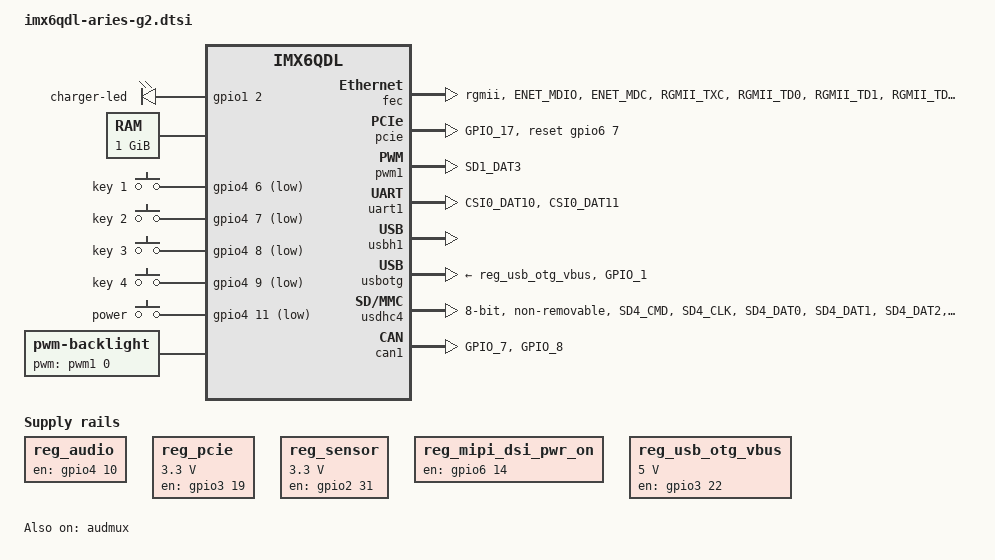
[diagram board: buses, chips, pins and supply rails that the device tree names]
/*
 * Copyright 2012-2015 Freescale Semiconductor, Inc.
 * Copyright 2011 Linaro Ltd.
 *
 * The code contained herein is licensed under the GNU General Public
 * License. You may obtain a copy of the GNU General Public License
 * Version 2 or later at the following locations:
 *
 * http://www.opensource.org/licenses/gpl-license.html
 * http://www.gnu.org/copyleft/gpl.html
 */

#include <dt-bindings/gpio/gpio.h>
#include <dt-bindings/input/input.h>

/ {
	aliases {
		mxcfb0 = &mxcfb1;
		mxcfb1 = &mxcfb2;
		mxcfb2 = &mxcfb3;
		mxcfb3 = &mxcfb4;
	};

	chosen {
		stdout-path = &uart1;
	};

	leds {
		compatible = "gpio-leds";

		charger-led {
			gpios = <&gpio1 2 0>;
			linux,default-trigger = "max8903-charger-charging";
			retain-state-suspended;
		};
	};

	memory: memory {
		reg = <0x10000000 0x40000000>;
	};

	regulators {
		compatible = "simple-bus";
		#address-cells = <1>;
		#size-cells = <0>;

		reg_audio: regulator@2 {
			compatible = "regulator-fixed";
			reg = <2>;
			regulator-name = "wm8962-supply";
			gpio = <&gpio4 10 0>;
			enable-active-high;
		};

		reg_pcie: regulator@3 {
			compatible = "regulator-fixed";
			reg = <3>;
			pinctrl-names = "default";
			pinctrl-0 = <&pinctrl_pcie_reg>;
			regulator-name = "MPCIE_3V3";
			regulator-min-microvolt = <3300000>;
			regulator-max-microvolt = <3300000>;
			gpio = <&gpio3 19 0>;
			regulator-always-on;
			enable-active-high;
		};

		reg_sensor: regulator@4 {
			compatible = "regulator-fixed";
			reg = <4>;
			regulator-name = "sensor-supply";
			regulator-min-microvolt = <3300000>;
			regulator-max-microvolt = <3300000>;
			gpio = <&gpio2 31 0>;
			startup-delay-us = <500>;
			enable-active-high;
		};

		reg_mipi_dsi_pwr_on: mipi_dsi_pwr_on {
			compatible = "regulator-fixed";
			regulator-name = "mipi_dsi_pwr_on";
			gpio = <&gpio6 14 0>;
			enable-active-high;
		};

		reg_usb_otg_vbus: regulator@5 {
			compatible = "regulator-fixed";
			reg = <2>;
			regulator-name = "usb_otg_vbus";
			regulator-min-microvolt = <5000000>;
			regulator-max-microvolt = <5000000>;
			gpio = <&gpio3 22 0>;
			enable-active-high;
		};
	};

	gpio-keys {
		compatible = "gpio-keys";
		pinctrl-names = "default";
		pinctrl-0 = <&pinctrl_gpio_keys>;

		key1 {
			label = "key 1";
			gpios = <&gpio4 6 GPIO_ACTIVE_LOW>;
			gpio-key,wakeup;
			linux,code = <21>;
		};
		
		key2 {
			label = "key 2";
			gpios = <&gpio4 7 GPIO_ACTIVE_LOW>;
			gpio-key,wakeup;
			linux,code = <22>;
		};
		
		key3 {
			label = "key 3";
			gpios = <&gpio4 8 GPIO_ACTIVE_LOW>;
			gpio-key,wakeup;
			linux,code = <24>;
		};
		
		key4 {
			label = "key 4";
			gpios = <&gpio4 9 GPIO_ACTIVE_LOW>;
			gpio-key,wakeup;
			linux,code = <23>;
		};
		
		power {
			label = "power";
			gpios = <&gpio4 11 GPIO_ACTIVE_LOW>;
			gpio-key,wakeup;
			linux,code = <25>;
		};
	};

    #if 0
	sound {
		compatible = "fsl,imx6q-sabresd-wm8962",
			   "fsl,imx-audio-wm8962";
		model = "wm8962-audio";
		cpu-dai = <&ssi2>;
		audio-codec = <&codec>;
		asrc-controller = <&asrc>;
		audio-routing =
			"Headphone Jack", "HPOUTL",
			"Headphone Jack", "HPOUTR",
			"Ext Spk", "SPKOUTL",
			"Ext Spk", "SPKOUTR",
			"AMIC", "MICBIAS",
			"IN3R", "AMIC",
			"DMIC", "MICBIAS",
			"DMICDAT", "DMIC",
			"CPU-Playback", "ASRC-Playback",
			"Playback", "CPU-Playback",
			"ASRC-Capture", "CPU-Capture",
			"CPU-Capture", "Capture";
		mux-int-port = <2>;
		mux-ext-port = <3>;
		hp-det-gpios = <&gpio7 8 1>;
		mic-det-gpios = <&gpio1 9 1>;
	};

	sound-hdmi {
		compatible = "fsl,imx6q-audio-hdmi",
			     "fsl,imx-audio-hdmi";
		model = "imx-audio-hdmi";
		hdmi-controller = <&hdmi_audio>;
	};
	#endif

	mxcfb1: fb@0 {
		compatible = "fsl,mxc_sdc_fb";
		disp_dev = "ldb";
		interface_pix_fmt = "RGB666";
		default_bpp = <16>;
		int_clk = <0>;
		late_init = <0>;
		status = "disabled";
	};

	mxcfb2: fb@1 {
		compatible = "fsl,mxc_sdc_fb";
		disp_dev = "hdmi";
		interface_pix_fmt = "RGB24";
		mode_str ="1920x1080M@60";
		default_bpp = <24>;
		int_clk = <0>;
		late_init = <0>;
		status = "disabled";
	};

	mxcfb3: fb@2 {
		compatible = "fsl,mxc_sdc_fb";
		disp_dev = "lcd";
		interface_pix_fmt = "RGB24";
		mode_str ="AURALiC";
		default_bpp = <24>;
		int_clk = <0>;
		late_init = <0>;
		status = "disabled";
	};

	mxcfb4: fb@3 {
		compatible = "fsl,mxc_sdc_fb";
		disp_dev = "ldb";
		interface_pix_fmt = "RGB666";
		default_bpp = <16>;
		int_clk = <0>;
		late_init = <0>;
		status = "disabled";
	};

	lcd@0 {
		compatible = "fsl,lcd";
		ipu_id = <0>;
		disp_id = <0>;
		default_ifmt = "RGB24";
		pinctrl-names = "default";
		pinctrl-0 = <&pinctrl_ipu1>;
		status = "okay";
	};

	backlight {
		compatible = "pwm-backlight";
		pwms = <&pwm1 0 5000000>;
		brightness-levels = <0 4 8 16 32 64 128 255>;
		default-brightness-level = <7>;
		status = "okay";
	};
#if 0
	v4l2_cap_0 {
		compatible = "fsl,imx6q-v4l2-capture";
		ipu_id = <0>;
		csi_id = <0>;
		mclk_source = <0>;
		status = "okay";
	};

	v4l2_cap_1 {
		compatible = "fsl,imx6q-v4l2-capture";
		ipu_id = <0>;
		csi_id = <1>;
		mclk_source = <0>;
		status = "okay";
	};

	v4l2_out {
		compatible = "fsl,mxc_v4l2_output";
		status = "okay";
	};

	mipi_dsi_reset: mipi-dsi-reset {
		compatible = "gpio-reset";
		reset-gpios = <&gpio6 11 GPIO_ACTIVE_LOW>;
		reset-delay-us = <50>;
		#reset-cells = <0>;
	};
	#endif
};

&audmux {
	pinctrl-names = "default";
	pinctrl-0 = <&pinctrl_audmux>;
	status = "okay";
};

&clks {
	fsl,ldb-di0-parent = <&clks IMX6QDL_CLK_PLL2_PFD0_352M>;
	fsl,ldb-di1-parent = <&clks IMX6QDL_CLK_PLL2_PFD0_352M>;
};

#if 0
&ecspi1 {
	fsl,spi-num-chipselects = <1>;
	cs-gpios = <&gpio4 9 0>;
	pinctrl-names = "default";
	pinctrl-0 = <&pinctrl_ecspi1>;
	status = "okay";

	flash: m25p80@0 {
		#address-cells = <1>;
		#size-cells = <1>;
		compatible = "st,m25p32";
		spi-max-frequency = <20000000>;
		reg = <0>;
	};
};
#endif

&fec {
	pinctrl-names = "default";
	pinctrl-0 = <&pinctrl_enet>;
	phy-mode = "rgmii";
	phy-reset-gpios = <&gpio1 25 0>;
	fsl,magic-packet;
	status = "okay";
};

&gpc {
	fsl,ldo-bypass = <1>;
};
#if 0
&dcic1 {
	dcic_id = <0>;
	dcic_mux = "dcic-hdmi";
	status = "okay";
};

&dcic2 {
	dcic_id = <1>;
	dcic_mux = "dcic-lvds1";
	status = "okay";
};

&hdmi_audio {
	status = "okay";
};

&hdmi_cec {
	pinctrl-names = "default";
	pinctrl-0 = <&pinctrl_hdmi_cec>;
	status = "okay";
};

&hdmi_core {
	ipu_id = <0>;
	disp_id = <0>;
	status = "okay";
};

&hdmi_video {
	fsl,phy_reg_vlev = <0x0294>;
	fsl,phy_reg_cksymtx = <0x800d>;
	status = "okay";
};

&i2c1 {
	clock-frequency = <100000>;
	pinctrl-names = "default";
	pinctrl-0 = <&pinctrl_i2c1>;
	status = "okay";

	codec: wm8962@1a {
		compatible = "wlf,wm8962";
		reg = <0x1a>;
		clocks = <&clks IMX6QDL_CLK_CKO>;
		DCVDD-supply = <&reg_audio>;
		DBVDD-supply = <&reg_audio>;
		AVDD-supply = <&reg_audio>;
		CPVDD-supply = <&reg_audio>;
		MICVDD-supply = <&reg_audio>;
		PLLVDD-supply = <&reg_audio>;
		SPKVDD1-supply = <&reg_audio>;
		SPKVDD2-supply = <&reg_audio>;
		gpio-cfg = <
			0x0000 /* 0:Default */
			0x0000 /* 1:Default */
			0x0013 /* 2:FN_DMICCLK */
			0x0000 /* 3:Default */
			0x8014 /* 4:FN_DMICCDAT */
			0x0000 /* 5:Default */
		>;
		amic-mono;
       };

	mma8451@1c {
		compatible = "fsl,mma8451";
		reg = <0x1c>;
		position = <0>;
		vdd-supply = <&reg_sensor>;
		vddio-supply = <&reg_sensor>;
		interrupt-parent = <&gpio1>;
		interrupts = <18 8>;
		interrupt-route = <1>;
	};
};
#endif

&iomuxc {
	pinctrl-names = "default";
	pinctrl-0 = <&pinctrl_hog>;

	imx6qdl-sabresd {
		pinctrl_hog: hoggrp {
			fsl,pins = <
			    MX6QDL_PAD_KEY_COL0__GPIO4_IO06     0x1b0b0//21
			    MX6QDL_PAD_KEY_ROW0__GPIO4_IO07     0x1b0b0//22
			    MX6QDL_PAD_KEY_COL1__GPIO4_IO08     0x1b0b0//24
			    MX6QDL_PAD_KEY_ROW1__GPIO4_IO09     0x1b0b0//23
			    MX6QDL_PAD_KEY_ROW2__GPIO4_IO11     0x1b0b0//25
			    
			    MX6QDL_PAD_SD2_DAT2__GPIO1_IO13     0x1b0b0//IRM
			    MX6QDL_PAD_EIM_OE__GPIO2_IO25       0x80000000//miso
			    MX6QDL_PAD_EIM_CS0__GPIO2_IO23      0x80000000//clk
			    MX6QDL_PAD_EIM_CS1__GPIO2_IO24      0x80000000//mosi
			    MX6QDL_PAD_EIM_LBA__GPIO2_IO27      0x80000000//cs
			    MX6QDL_PAD_KEY_ROW3__GPIO4_IO13     0x80000000//rst
				MX6QDL_PAD_NANDF_WP_B__GPIO6_IO09	0x0b0b0//pcie WAKEUP
				MX6QDL_PAD_NANDF_CLE__GPIO6_IO07    0x0b0b0//PCIE RST
				MX6QDL_PAD_EIM_BCLK__GPIO6_IO31     0x1b0b0//usb_dit_rst
				MX6QDL_PAD_EIM_D31__GPIO3_IO31      0x1b0b0//usb_llk_rst
			    
				MX6QDL_PAD_NANDF_D0__GPIO2_IO00 0x80000000
				MX6QDL_PAD_NANDF_D1__GPIO2_IO01 0x80000000
				MX6QDL_PAD_NANDF_D2__GPIO2_IO02 0x80000000
				MX6QDL_PAD_NANDF_D3__GPIO2_IO03 0x80000000
				MX6QDL_PAD_GPIO_0__CCM_CLKO1    0x130b0
				MX6QDL_PAD_ENET_TXD1__GPIO1_IO29 0x80000000
				MX6QDL_PAD_EIM_D22__GPIO3_IO22  0x80000000
				MX6QDL_PAD_ENET_CRS_DV__GPIO1_IO25 0x80000000
				MX6QDL_PAD_EIM_D26__GPIO3_IO26 0x80000000
				MX6QDL_PAD_ENET_RXD0__GPIO1_IO27 0x80000000
				MX6QDL_PAD_EIM_A25__GPIO5_IO02 0x80000000
				MX6QDL_PAD_EIM_D23__GPIO3_IO23 0x80000000
				MX6QDL_PAD_EIM_EB3__GPIO2_IO31 0x80000000
				MX6QDL_PAD_SD1_CMD__GPIO1_IO18 0x80000000
				MX6QDL_PAD_EIM_D16__GPIO3_IO16 0x80000000
				MX6QDL_PAD_SD3_RST__GPIO7_IO08	0x80000000
				MX6QDL_PAD_GPIO_9__GPIO1_IO09 	0x80000000
				MX6QDL_PAD_EIM_DA9__GPIO3_IO09 0x80000000
				MX6QDL_PAD_NANDF_CS0__GPIO6_IO11 0x80000000
				MX6QDL_PAD_NANDF_CS1__GPIO6_IO14 0x80000000
				MX6QDL_PAD_NANDF_CS2__GPIO6_IO15 0x80000000
				MX6QDL_PAD_NANDF_CS3__GPIO6_IO16 0x80000000
			>;
		};

		pinctrl_audmux: audmuxgrp {
			fsl,pins = <
				MX6QDL_PAD_CSI0_DAT7__AUD3_RXD		0x130b0
				MX6QDL_PAD_CSI0_DAT4__AUD3_TXC		0x130b0
				MX6QDL_PAD_CSI0_DAT5__AUD3_TXD		0x110b0
				MX6QDL_PAD_CSI0_DAT6__AUD3_TXFS		0x130b0
			>;
		};

		pinctrl_ecspi1: ecspi1grp {
			fsl,pins = <
				MX6QDL_PAD_KEY_COL1__ECSPI1_MISO	0x100b1
				MX6QDL_PAD_KEY_ROW0__ECSPI1_MOSI	0x100b1
				MX6QDL_PAD_KEY_COL0__ECSPI1_SCLK	0x100b1
				MX6QDL_PAD_KEY_ROW1__GPIO4_IO09		0x1b0b0
			>;
		};

		pinctrl_enet: enetgrp {
			fsl,pins = <
				MX6QDL_PAD_ENET_MDIO__ENET_MDIO		0x1b0b0
				MX6QDL_PAD_ENET_MDC__ENET_MDC		0x1b0b0
				MX6QDL_PAD_RGMII_TXC__RGMII_TXC		0x1b0b0
				MX6QDL_PAD_RGMII_TD0__RGMII_TD0		0x1b0b0
				MX6QDL_PAD_RGMII_TD1__RGMII_TD1		0x1b0b0
				MX6QDL_PAD_RGMII_TD2__RGMII_TD2		0x1b0b0
				MX6QDL_PAD_RGMII_TD3__RGMII_TD3		0x1b0b0
				MX6QDL_PAD_RGMII_TX_CTL__RGMII_TX_CTL	0x1b0b0
				MX6QDL_PAD_ENET_REF_CLK__ENET_TX_CLK	0x1b0b0
				MX6QDL_PAD_RGMII_RXC__RGMII_RXC		0x1b0b0
				MX6QDL_PAD_RGMII_RD0__RGMII_RD0		0x1b0b0
				MX6QDL_PAD_RGMII_RD1__RGMII_RD1		0x1b0b0
				MX6QDL_PAD_RGMII_RD2__RGMII_RD2		0x1b0b0
				MX6QDL_PAD_RGMII_RD3__RGMII_RD3		0x1b0b0
				MX6QDL_PAD_RGMII_RX_CTL__RGMII_RX_CTL	0x1b0b0
				MX6QDL_PAD_GPIO_16__ENET_REF_CLK	0x4001b0a8
			>;
		};

		pinctrl_enet_irq: enetirqgrp {
			fsl,pins = <
				MX6QDL_PAD_GPIO_6__ENET_IRQ		0x000b1
			>;
		};

		pinctrl_flexcan1: flexcan1grp {
			fsl,pins = <
				MX6QDL_PAD_GPIO_7__FLEXCAN1_TX		0x1b0b0
				MX6QDL_PAD_GPIO_8__FLEXCAN1_RX		0x1b0b0
			>;
		};

		pinctrl_flexcan2: flexcan2grp {
			fsl,pins = <
				MX6QDL_PAD_KEY_COL4__FLEXCAN2_TX 0x80000000
				MX6QDL_PAD_KEY_ROW4__FLEXCAN2_RX 0x80000000
			>;
		};

		pinctrl_gpio_keys: gpio_keysgrp {
			fsl,pins = <
				MX6QDL_PAD_EIM_D29__GPIO3_IO29 0x1b0b0
				MX6QDL_PAD_GPIO_4__GPIO1_IO04  0x1b0b0
				MX6QDL_PAD_GPIO_5__GPIO1_IO05  0x1b0b0
			>;
		};

		pinctrl_hdmi_cec: hdmicecgrp {
			fsl,pins = <
				MX6QDL_PAD_KEY_ROW2__HDMI_TX_CEC_LINE 0x108b0
			>;
		};

		pinctrl_i2c1: i2c1grp {
			fsl,pins = <
				MX6QDL_PAD_CSI0_DAT8__I2C1_SDA		0x4001b8b1
				MX6QDL_PAD_CSI0_DAT9__I2C1_SCL		0x4001b8b1
			>;
		};

		pinctrl_i2c3: i2c3grp {
			fsl,pins = <
				MX6QDL_PAD_GPIO_3__I2C3_SCL		0x4001b8b1
				MX6QDL_PAD_GPIO_6__I2C3_SDA		0x4001b8b1
			>;
		};

		pinctrl_ipu1: ipu1grp {
			fsl,pins = <
				MX6QDL_PAD_DI0_DISP_CLK__IPU1_DI0_DISP_CLK 0x10
				MX6QDL_PAD_DI0_PIN15__IPU1_DI0_PIN15       0x10
				MX6QDL_PAD_DI0_PIN2__IPU1_DI0_PIN02        0x10
				MX6QDL_PAD_DI0_PIN3__IPU1_DI0_PIN03        0x10
				MX6QDL_PAD_DISP0_DAT0__IPU1_DISP0_DATA00   0x10
				MX6QDL_PAD_DISP0_DAT1__IPU1_DISP0_DATA01   0x10
				MX6QDL_PAD_DISP0_DAT2__IPU1_DISP0_DATA02   0x10
				MX6QDL_PAD_DISP0_DAT3__IPU1_DISP0_DATA03   0x10
				MX6QDL_PAD_DISP0_DAT4__IPU1_DISP0_DATA04   0x10
				MX6QDL_PAD_DISP0_DAT5__IPU1_DISP0_DATA05   0x10
				MX6QDL_PAD_DISP0_DAT6__IPU1_DISP0_DATA06   0x10
				MX6QDL_PAD_DISP0_DAT7__IPU1_DISP0_DATA07   0x10
				MX6QDL_PAD_DISP0_DAT8__IPU1_DISP0_DATA08   0x10
				MX6QDL_PAD_DISP0_DAT9__IPU1_DISP0_DATA09   0x10
				MX6QDL_PAD_DISP0_DAT10__IPU1_DISP0_DATA10  0x10
				MX6QDL_PAD_DISP0_DAT11__IPU1_DISP0_DATA11  0x10
				MX6QDL_PAD_DISP0_DAT12__IPU1_DISP0_DATA12  0x10
				MX6QDL_PAD_DISP0_DAT13__IPU1_DISP0_DATA13  0x10
				MX6QDL_PAD_DISP0_DAT14__IPU1_DISP0_DATA14  0x10
				MX6QDL_PAD_DISP0_DAT15__IPU1_DISP0_DATA15  0x10
				MX6QDL_PAD_DISP0_DAT16__IPU1_DISP0_DATA16  0x10
				MX6QDL_PAD_DISP0_DAT17__IPU1_DISP0_DATA17  0x10
				MX6QDL_PAD_DISP0_DAT18__IPU1_DISP0_DATA18  0x10
				MX6QDL_PAD_DISP0_DAT19__IPU1_DISP0_DATA19  0x10
				MX6QDL_PAD_DISP0_DAT20__IPU1_DISP0_DATA20  0x10
				MX6QDL_PAD_DISP0_DAT21__IPU1_DISP0_DATA21  0x10
				MX6QDL_PAD_DISP0_DAT22__IPU1_DISP0_DATA22  0x10
				MX6QDL_PAD_DISP0_DAT23__IPU1_DISP0_DATA23  0x10
			>;
		};

		pinctrl_ipu1_2: ipu1grp-2 { /* parallel camera */
			fsl,pins = <
				MX6QDL_PAD_CSI0_DAT12__IPU1_CSI0_DATA12    0x80000000
				MX6QDL_PAD_CSI0_DAT13__IPU1_CSI0_DATA13    0x80000000
				MX6QDL_PAD_CSI0_DAT14__IPU1_CSI0_DATA14    0x80000000
				MX6QDL_PAD_CSI0_DAT15__IPU1_CSI0_DATA15    0x80000000
				MX6QDL_PAD_CSI0_DAT16__IPU1_CSI0_DATA16    0x80000000
				MX6QDL_PAD_CSI0_DAT17__IPU1_CSI0_DATA17    0x80000000
				MX6QDL_PAD_CSI0_DAT18__IPU1_CSI0_DATA18    0x80000000
				MX6QDL_PAD_CSI0_DAT19__IPU1_CSI0_DATA19    0x80000000
				MX6QDL_PAD_CSI0_DATA_EN__IPU1_CSI0_DATA_EN 0x80000000
				MX6QDL_PAD_CSI0_PIXCLK__IPU1_CSI0_PIXCLK   0x80000000
				MX6QDL_PAD_CSI0_MCLK__IPU1_CSI0_HSYNC      0x80000000
				MX6QDL_PAD_CSI0_VSYNC__IPU1_CSI0_VSYNC     0x80000000
				MX6QDL_PAD_SD1_DAT1__GPIO1_IO17            0x80000000
				MX6QDL_PAD_SD1_DAT0__GPIO1_IO16            0x80000000
			>;
		};

		pinctrl_pcie: pciegrp {
			fsl,pins = <
				MX6QDL_PAD_GPIO_17__GPIO7_IO12	0x1b0b0
			>;
		};

		pinctrl_pcie_reg: pciereggrp {
			fsl,pins = <
				MX6QDL_PAD_EIM_D19__GPIO3_IO19	0x1b0b0
			>;
		};

		pinctrl_pwm1: pwm1grp {
			fsl,pins = <
				MX6QDL_PAD_SD1_DAT3__PWM1_OUT		0x1b0b1
			>;
		};

		pinctrl_uart1: uart1grp {
			fsl,pins = <
				MX6QDL_PAD_CSI0_DAT10__UART1_TX_DATA	0x1b0b1
				MX6QDL_PAD_CSI0_DAT11__UART1_RX_DATA	0x1b0b1
			>;
		};

		pinctrl_uart5_1: uart5grp-1 {
			fsl,pins = <
				MX6QDL_PAD_KEY_COL1__UART5_TX_DATA	0x1b0b1
				MX6QDL_PAD_KEY_ROW1__UART5_RX_DATA	0x1b0b1
				MX6QDL_PAD_KEY_COL4__UART5_RTS_B	0x1b0b1
				MX6QDL_PAD_KEY_ROW4__UART5_CTS_B	0x1b0b1
			>;
		};

		pinctrl_uart5dte_1: uart5dtegrp-1 {
			fsl,pins = <
				MX6QDL_PAD_KEY_ROW1__UART5_TX_DATA	0x1b0b1
				MX6QDL_PAD_KEY_COL1__UART5_RX_DATA	0x1b0b1
				MX6QDL_PAD_KEY_ROW4__UART5_RTS_B	0x1b0b1
				MX6QDL_PAD_KEY_COL4__UART5_CTS_B	0x1b0b1
			>;
		};

		pinctrl_usbotg: usbotggrp {
			fsl,pins = <
				MX6QDL_PAD_GPIO_1__USB_OTG_ID		0x17059
				//MX6QDL_PAD_ENET_RX_ER__USB_OTG_ID	0x17059
			>;
		};

		pinctrl_usdhc3: usdhc3grp {
			fsl,pins = <
				MX6QDL_PAD_SD3_CMD__SD3_CMD		0x17059
				MX6QDL_PAD_SD3_CLK__SD3_CLK		0x10059
				MX6QDL_PAD_SD3_DAT0__SD3_DATA0		0x17059
				MX6QDL_PAD_SD3_DAT1__SD3_DATA1		0x17059
				MX6QDL_PAD_SD3_DAT2__SD3_DATA2		0x17059
				MX6QDL_PAD_SD3_DAT3__SD3_DATA3		0x17059
				MX6QDL_PAD_SD3_DAT4__SD3_DATA4		0x17059
				MX6QDL_PAD_SD3_DAT5__SD3_DATA5		0x17059
				MX6QDL_PAD_SD3_DAT6__SD3_DATA6		0x17059
				MX6QDL_PAD_SD3_DAT7__SD3_DATA7		0x17059
			>;
		};

		pinctrl_usdhc4: usdhc4grp {
			fsl,pins = <
				MX6QDL_PAD_SD4_CMD__SD4_CMD		0x17059
				MX6QDL_PAD_SD4_CLK__SD4_CLK		0x10059
				MX6QDL_PAD_SD4_DAT0__SD4_DATA0		0x17059
				MX6QDL_PAD_SD4_DAT1__SD4_DATA1		0x17059
				MX6QDL_PAD_SD4_DAT2__SD4_DATA2		0x17059
				MX6QDL_PAD_SD4_DAT3__SD4_DATA3		0x17059
				MX6QDL_PAD_SD4_DAT4__SD4_DATA4		0x17059
				MX6QDL_PAD_SD4_DAT5__SD4_DATA5		0x17059
				MX6QDL_PAD_SD4_DAT6__SD4_DATA6		0x17059
				MX6QDL_PAD_SD4_DAT7__SD4_DATA7		0x17059
			>;
		};

		pinctrl_wdog: wdoggrp {
			fsl,pins = <
				MX6QDL_PAD_GPIO_1__WDOG2_B 0x80000000
			>;
		};
	};

	gpio_leds {
		pinctrl_gpio_leds: gpioledsgrp {
			fsl,pins = <
				MX6QDL_PAD_GPIO_2__GPIO1_IO02 0x1b0b0
			>;
		};
	};
};

#if 0
&ldb {
	status = "okay";

	lvds-channel@0 {
		fsl,data-mapping = "spwg";
		fsl,data-width = <18>;
		status = "okay";

		display-timings {
			native-mode = <&timing0>;
			timing0: hsd100pxn1 {
				clock-frequency = <65000000>;
				hactive = <1024>;
				vactive = <768>;
				hback-porch = <220>;
				hfront-porch = <40>;
				vback-porch = <21>;
				vfront-porch = <7>;
				hsync-len = <60>;
				vsync-len = <10>;
			};
		};
	};

	lvds-channel@1 {
		fsl,data-mapping = "spwg";
		fsl,data-width = <18>;
		primary;
		status = "okay";

		display-timings {
			native-mode = <&timing1>;
			timing1: hsd100pxn1 {
				clock-frequency = <65000000>;
				hactive = <1024>;
				vactive = <768>;
				hback-porch = <220>;
				hfront-porch = <40>;
				vback-porch = <21>;
				vfront-porch = <7>;
				hsync-len = <60>;
				vsync-len = <10>;
			};
		};
	};
};

&mipi_csi {
	status = "okay";
	ipu_id = <0>;
	csi_id = <1>;
	v_channel = <0>;
	lanes = <2>;
};

&mipi_dsi {
	dev_id = <0>;
	disp_id = <1>;
	lcd_panel = "TRULY-WVGA";
	disp-power-on-supply = <&reg_mipi_dsi_pwr_on>;
	resets = <&mipi_dsi_reset>;
	status = "okay";
};
#endif

&pcie {
	pinctrl-names = "default";
	pinctrl-0 = <&pinctrl_pcie>;
    reset-gpio = <&gpio6 7 0>;
    wake-up-gpio = <&gpio6 9 0>;
	status = "okay";
};

&pwm1 {
	pinctrl-names = "default";
	pinctrl-0 = <&pinctrl_pwm1>;
	status = "okay";
};

#if 0
&snvs_poweroff {
	status = "okay";
};

&ssi2 {
	status = "okay";
};
#endif

&uart1 {
	pinctrl-names = "default";
	pinctrl-0 = <&pinctrl_uart1>;
	status = "okay";
};

&usbh1 {
	status = "okay";
};

&usbotg {
	vbus-supply = <&reg_usb_otg_vbus>;
	pinctrl-names = "default";
	pinctrl-0 = <&pinctrl_usbotg>;
	disable-over-current;
	srp-disable;
	hnp-disable;
	adp-disable;
	status = "okay";
};

#if 0
&usdhc3 {
	pinctrl-names = "default";
	pinctrl-0 = <&pinctrl_usdhc3>;
	bus-width = <8>;
	cd-gpios = <&gpio2 0 GPIO_ACTIVE_LOW>;
	wp-gpios = <&gpio2 1 GPIO_ACTIVE_HIGH>;
	no-1-8-v;
	keep-power-in-suspend;
	enable-sdio-wakeup;
	status = "okay";
};
#endif

&usdhc4 {
	pinctrl-names = "default";
	pinctrl-0 = <&pinctrl_usdhc4>;
	bus-width = <8>;
	non-removable;
	no-1-8-v;
	keep-power-in-suspend;
	status = "okay";
};

&can1 {
	pinctrl-names = "default";
	pinctrl-0 = <&pinctrl_flexcan1>;
	status = "okay";
};
